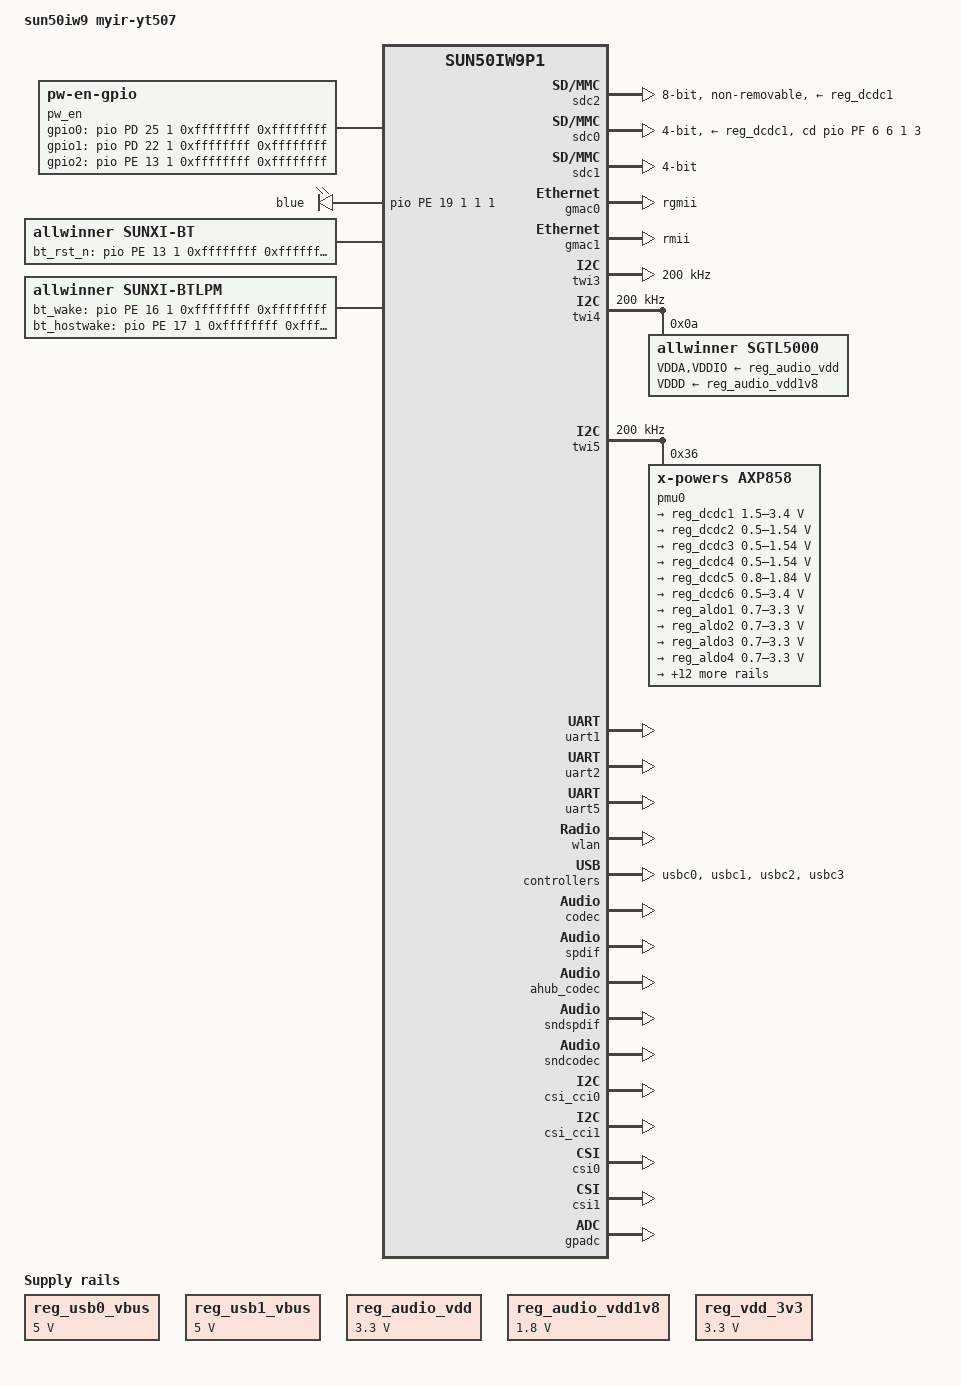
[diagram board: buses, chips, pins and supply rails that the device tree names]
/*
 * 
 * CPU module MYC-YT507  support.
 */

/dts-v1/;
#include <dt-bindings/input/input.h>
#include <dt-bindings/gpio/gpio.h>
#include "sun50iw9p1-myir.dtsi"

/*display*/
//#include "display/myir-hdmi-1920x1080-1lvds-7-1024x600.dtsi"     
//#include "display/myir-lcd-1lvds-7-1024-600.dtsi"
//#include "display/myir-lcd-lvds-10.1-1280-800.dtsi" 
//#include "display/myir-lcd-2lvds-7-1024-600.dtsi"
//#include "display/myir-lcd-2lvds-21-1920-1080.dtsi"
//#include "display/myir-hdmi.dtsi"
//#include "display/myir-tv.dtsi"


/{
	model = "sun50iw9 myir-yt507";
	compatible = "allwinner,t507", "arm,sun50iw9p1";

	reg_usb0_vbus: usb0-vbus {
		compatible = "regulator-fixed";
		regulator-name = "usb-vbus";
		regulator-min-microvolt = <5000000>;
		regulator-max-microvolt = <5000000>;
		enable-active-high;
	};

	reg_usb1_vbus: usb1-vbus {
		compatible = "regulator-fixed";
		regulator-name = "usb-vbus";
		regulator-min-microvolt = <5000000>;
		regulator-max-microvolt = <5000000>;
		enable-active-high;
	};

	reg_audio_vdd: audio_vdd {
                compatible = "regulator-fixed";
                regulator-name = "audio-vdd";
                regulator-min-microvolt = <3300000>;
                regulator-max-microvolt = <3300000>;
                enable-active-high;
        };

	 reg_audio_vdd1v8: audio_vdd1v8 {
                compatible = "regulator-fixed";
                regulator-name = "audio-vdd1v8";
                regulator-min-microvolt = <1800000>;
                regulator-max-microvolt = <1800000>;
                enable-active-high;
        };

	 reg_vdd_3v3: vdd_3v3 {
                compatible = "regulator-fixed";
                regulator-name = "vdd-3v3";
                regulator-min-microvolt = <3300000>;
                regulator-max-microvolt = <3300000>;
                enable-active-high;
        };
	
       pw_en {
               compatible = "pw-en-gpio";
               gpio0 = <&pio PD 25 1 0xffffffff 0xffffffff 0>;// 4G 3.3Vi
	       gpio1 = <&pio PD 22 1 0xffffffff 0xffffffff 1>;// VDD3.3-IO
	       gpio2 = <&pio PE 13 1 0xffffffff 0xffffffff 1>;
	       //gpio3 = <&pio PE 16 1 0xffffffff 0xffffffff 1>;
/*
               gpio1 = <&pio PE 3 1 0xffffffff 0xffffffff 1>; //USB 5V
               gpio2 = <&pio PE 16 1 0xffffffff 0xffffffff 1>;// hub reset
               gpio3 = <&pio PE 10 1 0xffffffff 0xffffffff 1>;// fan
               gpio8 = <&pio PE 9 1 0xffffffff 0xffffffff 0>;// otg mode
               gpio9 = <&pio PE 2 1 0xffffffff 0xffffffff 0>;// otg pwr
	
  	       pinctrl-0 = <&pwr_pins>;
*/
               status = "okay";
       };       
       
	leds {
		compatible = "gpio-leds";
    		pinctrl-names = "default";
    		status = "okay";
		
		led: led-blue {
			label = "blue";
			gpios = <&pio PE 19 1 1 1 0>;
			linux,defaults-trigger = "heartbeat";
			defaults-state = "on";
		};

	};
/*
	gpiokey {
		device_type = "gpiokey";
		compatible = "gpio-keys";
		status = "okay";

		ok_key {
			device_type = "ok_key";
			label = "ok_key";
			linux,code = <0x1c>;
			gpios = <&axp_gpio0 1 1>;
			wakeup-source = <0x1>;
			linux,input-type = <1>;
			debounce-interval = <15>; //消抖时间
			};
	};
*/	
	soc@03000000 {
		pio: pinctrl@0300b000 {

			/* takes the debounce time in usec as argument */
			input-debounce = <0 0 0 0 0 0 1>;
			};

		spi0: spi@05010000 {
			pinctrl-0 = <&spi0_pins_a &spi0_pins_b>;
			pinctrl-1 = <&spi0_pins_c>;
			spi_slave_mode = <0>;
			status = "disabled";
			spi_board0 {
				device_type = "spi_board0";
				compatible = "spidev";
				spi-max-frequency = <0x5f5e100>;
				reg = <0x0>;
			};
		};

		spi1: spi@05011000 {
			pinctrl-0 = <&spi1_pins_a &spi1_pins_b>;
			pinctrl-1 = <&spi1_pins_c>;
			spi_slave_mode = <0>;
			status = "disabled";
			spi_board1 {
				device_type = "spi_board1";
				compatible = "spidev";
				spi-max-frequency = <0x5f5e100>;
				reg = <0x0>;
				spi-rx-bus-width = <0x1>;
				spi-tx-bus-width = <0x1>;
			};
		};
		/*emmc*/
		sdc2: sdmmc@04022000 {
			//pinctrl-0 = <&sdc2_pins_a &sdc2_pins_c>;
			non-removable;
			bus-width = <8>;
			mmc-ddr-1_8v;
		//	mmc-hs200-1_8v;
		//	mmc-hs400-1_8v;
			no-sdio;
			no-sd;
			cap-mmc-highspeed;
			sunxi-power-save-mode;
		//	sunxi-dis-signal-vol-sw;
			max-frequency = <50000000>;
			ctl-spec-caps = <0x8>;
			vqmmc-supply = <&reg_aldo1>;
			vmmc-supply = <&reg_dcdc1>;
			status = "okay";
		};

		/*sdcard*/
		sdc0: sdmmc@04020000 {
			pinctrl-0 = <&sdc0_pins_a>;
			bus-width = <4>;
			cd-gpios = <&pio PF 6 6 1 3 0xffffffff>;
			cd-used-24M;
			/*non-removable;*/
			/*broken-cd;*/
			/*cd-inverted*/
			/*data3-detect;*/
			cap-sd-highspeed;
			sd-uhs-sdr50;
			sd-uhs-ddr50;
			sd-uhs-sdr104;
			no-sdio;
			no-mmc;
			sunxi-power-save-mode;
			sunxi-signal-vol-sw-without-pmu;
			/*sunxi-dis-signal-vol-sw;*/
			max-frequency = <150000000>;
			ctl-spec-caps = <0x8>;
			vmmc-supply = <&reg_dcdc1>;
			vqmmc33sw-supply = <&reg_dcdc1>;
			vdmmc33sw-supply = <&reg_dcdc1>;
			vqmmc18sw-supply = <&reg_aldo2>;
			vdmmc18sw-supply = <&reg_aldo2>;
			status = "okay";
		};

		/*wifi*/
		sdc1: sdmmc@04021000 {
			pinctrl-0 = <&sdc1_pins_a>;
			bus-width = <4>;
			no-mmc;
			no-sd;
			cap-sd-highspeed;
			/*sd-uhs-sdr12*/
			/*sd-uhs-sdr25*/
			/*sd-uhs-sdr50;*/
			/*sd-uhs-ddr50;*/
			/*sd-uhs-sdr104*/
			/*sunxi-power-save-mode;*/
			sunxi-dis-signal-vol-sw;
			cap-sdio-irq;
			keep-power-in-suspend;
			ignore-pm-notify;
			max-frequency = <50000000>;
			ctl-spec-caps = <0x8>;
			status = "okay";					
		};
		
		/*Gethernet */
		gmac0: eth@05020000{
			phy-mode = "rgmii";
			phy-rst = <&pio PI 6 1 1 1 0>;
			//phy-power = <&pio PD 22 1 1 1 0>;
			use_ephy25m = <1>;
			tx-delay = <3>;//2 5
			rx-delay = <16>;//24 16
			gmac-power0-supply = <&reg_dcdc6>;
			gmac-power1-supply;
			gmac-power2-supply;
			gmac-power0-vol = <3300000>;
			gmac-power1-vol;
			gmac-power2-vol;
			status = "okay";
		};

		/*megabit ethernet*/
		gmac1: eth@05030000{
			phy-mode = "rmii";
			phy-rst = <&pio PH 5 1 1 1 0>;
			use_ephy25m = <0>;
			tx-delay = <7>;
			rx-delay = <0>;
			gmac-power0-supply = <&reg_dcdc6>;
			gmac-power1-supply;
			gmac-power2-supply;
			gmac-power0-vol = <3300000>;
			gmac-power1-vol;
			gmac-power2-vol;
			status = "okay";
		};
		
		/*twi0*/
		twi0: twi@0x05002000{
			clock-frequency = <400000>;
			pinctrl-0 = <&twi0_pins_a>;
			pinctrl-1 = <&twi0_pins_b>;
			twi-supply = <&reg_dcdc1>;
			status = "disabled";
		};
		
		/*twi1*/
		twi1: twi@0x05002400{
			clock-frequency = <200000>;
			pinctrl-0 = <&twi1_pins_a>;
			pinctrl-1 = <&twi1_pins_b>;
			//twi-supply = <&reg_cldo3>;
			status = "disabled";

		};
		
		/*twi2*/
		/*
		twi2: twi@0x05002800{
			clock-frequency = <200000>;
			pinctrl-0 = <&twi2_pins_a>;
			pinctrl-1 = <&twi2_pins_b>;
			//twi-supply = <&reg_dcdc1>;
			status = "disabled";
			
		};
		*/

		/*twi3*/
		twi3: twi@0x05002c00{
			clock-frequency = <200000>;
			pinctrl-0 = <&twi3_pins_a>;
			pinctrl-1 = <&twi3_pins_b>;
			//twi-supply = <&reg_dcdc1>;
			status = "okay";
		};

		/*twi4*/
		twi4: twi@0x05003000{
			clock-frequency = <200000>;
			pinctrl-0 = <&twi4_pins_a>;
			pinctrl-1 = <&twi4_pins_b>;
			//twi-supply = <&reg_cldo2>;
			status = "okay";
			
			sgtl5000@0a {
                                compatible = "allwinner,sgtl5000";
                                device_type = "sgtl5000";
				reg = <0x0a>;
			
				VDDA-supply = <&reg_audio_vdd>;
				VDDIO-supply = <&reg_audio_vdd>;
				VDDD-supply = <&reg_audio_vdd1v8>;
                                micbias-resistor-k-ohms = <4>;
                                micbias-voltage-m-volts = <2250>;
				status = "okay";
                        };
		};

		/*twi5*/
		twi5: twi@0x07081400{
			clock-frequency = <200000>;
			pinctrl-0 = <&s_twi0_pins_a>;
			pinctrl-1 = <&s_twi0_pins_b>;
			status = "okay";
		};
		
		/*PWM*/
		pwm0: pwm0@0300a000 {
			pinctrl-names = "active", "sleep";
			pinctrl-0 = <&pwm0_pin_a>;
			pinctrl-1 = <&pwm0_pin_b>;
		};

		pwm5: pwm5@0300a000 {
               		pinctrl-names = "active", "sleep";
                        pinctrl-0 = <&pwm5_pin_a>;
                        pinctrl-1 = <&pwm5_pin_b>;

		 };
                
		/*GPADC*/
		/*
		gpadc:gpadc{
                        channel_num = <4>;
                        channel_select = <0x01>;
                        channel_data_select = <0>;
                        channel_compare_select = <0x01>;
                        channel_cld_select = <0x01>;
                        channel_chd_select = <0>;
                        channel0_compare_lowdata = <4700000>;
                        channel0_compare_higdata = <1000000>;
                        status = "okay";
                };
		*/

		/*BT*/
		uart1: uart@05000400 {
			status = "okay";
		};
		
		/*RS232*/
		uart2: uart@05000800 {
			//uart-supply = <&reg_cldo3>;
			uart2_type = <2>;
			status = "okay";
		};

		/*NO USE*/
		uart3: uart@05000c00 {
			uart3_type = <2>;
			status = "disabled";
		};
		
		/*NO USE*/
		uart4: uart@05001000 {
			//uart-supply = <&reg_cldo3>;
			uart4_type = <2>;
			status = "disabled";
		};

		/*RS485*/
		uart5: uart@05001400 {
			//uart-supply = <&reg_cldo3>;
			uart5_type = <2>;
			status = "okay";
		};

		wlan:wlan {
			compatible    = "allwinner,sunxi-wlan";
			//clocks        = <&clk_losc_out>;
			//pinctrl-0     = <&clk_losc_pins_a>;
			//pinctrl-names = "default";
			wlan_busnum   = <0x1>;
			wlan_power    = "axp858-dcdc1";
			wlan_io_regulator = "axp858-cldo2";
			wlan_regon    = <&pio PE 12 1 0xffffffff 0xffffffff 1>;
			wlan_hostwake = <&pio PE 14 1 0xffffffff 0xffffffff 1>;
			chip_en;
			power_en;
			status        = "okay";
		};

		bt:bt {
			compatible    = "allwinner,sunxi-bt";
			clocks        = <&clk_losc_out>;
			bt_power      = "axp858-dcdc1";
			bt_io_regulator = "axp858-cldo2";
			bt_rst_n = <&pio PE 13 1 0xffffffff 0xffffffff 0>;
			//bt_rst_n;
			status        = "okay";
		};

		btlpm:btlpm {
			compatible  = "allwinner,sunxi-btlpm";
			uart_index  = <0x1>;
			bt_wake	    = <&pio PE 16 1 0xffffffff 0xffffffff 1>;
			bt_hostwake = <&pio PE 17 1 0xffffffff 0xffffffff 1>;
			status      = "okay";
		};

		car_reverse:car_reverse {
			compatible  = "allwinner,sunxi-car-reverse";
			tvd_id  = <0x5>;
			screen_width = <1280>;
			screen_height = <800>;
			rotation = <0x0>;
			source = <0x1>;
			oview = <0x0>;
			reverse_pin = <&pio PI 15 6 0 1 0>;
			status      = "disabled";
		};

		addr_mgt:addr_mgt {
			compatible     = "allwinner,sunxi-addr_mgt";
			type_addr_wifi = <0x0>;
			type_addr_bt   = <0x0>;
			type_addr_eth  = <0x0>;
			status         = "okay";
		};

		usbc0:usbc0@0 {
			device_type		= "usbc0";
			usb_port_type		= <0x2>;
			usb_detect_type		= <0x1>;
			usb_detect_mode		= <0x0>;
			//usb_id_gpio		= <&pio PE 0 0 1 0 0>;
			usb_det_vbus_gpio	= <&pio PE 18 0 1 0 0>;
			usb_regulator_io	= "nocare";
			usb_wakeup_suspend	= <0x0>;
			usb_luns		= <0x3>;
			usb_serial_unique	= <0x0>;
			usb_serial_number	= "20080411";
			status			= "okay";
		};

		ehci0:ehci0-controller@0x05101000 {
			drvvbus-supply = <&reg_usb0_vbus>;
		};

		ohci0:ohci0-controller@0x05101400 {
			drvvbus-supply = <&reg_usb0_vbus>;
		};

		usbc1:usbc1@0 {
			device_type		= "usbc1";
			usb_regulator_io	= "nocare";
			usb_wakeup_suspend	= <0x0>;
			status			= "okay";
		};

		ehci1:ehci1-controller@0x05200000 {
			drvvbus-supply = <&reg_usb1_vbus>;
		};

		ohci1:ohci1-controller@0x05200400 {
			drvvbus-supply = <&reg_usb1_vbus>;
		};

		usbc2:usbc2@0 {
			device_type		= "usbc2";
			usb_drv_vbus_gpio;
			usb_regulator_io	= "nocare";
			usb_wakeup_suspend	= <0x0>;
			status			= "okay";
		};

		usbc3:usbc3@0 {
			device_type		= "usbc3";
			usb_drv_vbus_gpio;
			usb_regulator_io	= "nocare";
			usb_wakeup_suspend	= <0x0>;
			status			= "okay";
		};

		/* audio dirver module */
		codec:codec@0x05096000 {
			adcdrc_cfg  = <0x00>;
			adchpf_cfg  = <0x00>;
			dacdrc_cfg  = <0x00>;
			dachpf_cfg  = <0x00>;
			fmin_gain   = <0x03>;
			linein_gain = <0x03>;
			digital_vol = <0x00>;
			lineout_vol = <0x1f>;//默认输出音量
			/* gpio-spk */
//			gpio-spk = <&pio PH 9 1 0xffffffff 0xffffffff 0>;
//			gpio-spk = <&pio PE 13 1 0xffffffff 0xffffffff 0>;
			pa_ctl_level   = <0x01>;
			pa_msleep_time = <0x78>;
			ramp_func_used = <0x01>;
			//avcc-supply = <&reg_aldo2>;
			status = "okay";
		};

		spdif:spdif-controller@0x05093000{
			status = "okay";
		};

		dmic:dmic-controller@0x05095000{
			status = "disabled";
		};

		ahub_codec:ahub_codec@0x05097000{
			status = "okay";
		};

		ahub_daudio0:ahub_daudio0@0x05097000{
			pinconfig 		= <0x01>;
			frametype 		= <0x00>;
			pcm_lrck_period		= <0x20>;
			slot_width_select	= <0x20>;
			daudio_master		= <0x04>;
			audio_format  		= <0x01>;
			signal_inversion 	= <0x01>;
			tdm_config		= <0x01>;
			mclk_div 		= <0x08>;
			status = "disabled";
		};

		ahub_daudio1:ahub_daudio1@0x05097000{
			pinconfig 		= <0x00>;
			frametype 		= <0x00>;
			pcm_lrck_period 	= <0x20>;
			slot_width_select 	= <0x20>;
			daudio_master 		= <0x04>;
			audio_format 		= <0x01>;
			signal_inversion 	= <0x01>;
			tdm_config 		= <0x01>;
			mclk_div 		= <0x01>;
			status = "disabled";
		};

		ahub_daudio2:ahub_daudio2@0x05097000{
			pinconfig 		= <0x01>;//0x01
			frametype 		= <0x00>;
			pcm_lrck_period 	= <0x10>;
			slot_width_select 	= <0x10>;
			daudio_master 		= <0x01>;
			audio_format 		= <0x01>;//01: standard i2s format
			signal_inversion 	= <0x01>;
			tdm_config 		= <0x01>;//00:pcm  01:i2s
			mclk_div 		= <0x04>;//0x04?分频为什么要这样分.默认24MHZ
			status = "okay";
		};

		ahub_daudio3:ahub_daudio3@0x05097000{
			pinconfig 		= <0x01>;
			frametype 		= <0x00>;
			pcm_lrck_period 	= <0x20>;
			slot_width_select 	= <0x20>;
			daudio_master 		= <0x04>;
			audio_format 		= <0x01>;
			signal_inversion 	= <0x01>;
			tdm_config 		= <0x01>;
			mclk_div 		= <0x08>;
			status = "disabled";
		};

		snddaudio3:sound@3{
			/* ac107-codec throught daudio0*/
			sunxi,snddaudio-codec = "ac107.3-0036";
			sunxi,snddaudio-codec-dai = "ac107-pcm0";
			status = "disabled";
		};

		/*
		sndhdmi:sound@1{
			status = "okay";
		};*/

		snddaudio2:sound@2{
			sunxi,snddaudio-codec = "sgtl5000.4-000a";
                        sunxi,snddaudio-codec-dai = "sgtl5000";
			status = "okay";
		};

		snddaudio0:sound@0{
			/* acx00-codec throught mfd_add_devices */
			/*
			sunxi,snddaudio-codec = "acx00-codec";
			sunxi,snddaudio-codec-dai = "acx00-dai";
			*/
			status = "disabled";
		};

		sndspdif:sound@4{
			status = "okay";
		};

		snddmic:sound@5{
			status = "disabled";
		};

		sndcodec:sound@6{
			status = "okay";
		};

		sndahub:sound@7{
			status = "okay";
		};
/*--------------------------------------------------------------------------------
vin (video input modules) configuration
vind(x)_used: 0:disable 1:enable, main node for vin
csi(x)_used: 0:disable 1:enable
flash(x)_used: 0:disable 1:enable
flash(x)_type: 0:FLASH_RELATING, 1:FLASH_EN_INDEPEND, 2:FLASH_POWER
flash(x)_en: flash enable gpio, type = 0 of 1
flash(x)_mode: flash mode gpio, type = 0 of 1
flash(x)_flvdd: flash module io power handle string, pmu power supply, type = 2
flash(x)_flvdd_vol: flash module io power voltage, pmu power supply, type = 2
actuator(x)_used: 0:disable 1:enable
actuator(x)_name: vcm name
actuator(x)_slave: vcm iic slave address
actuator(x)_af_pwdn: vcm power down gpio
actuator(x)_afvdd: vcm power handle string, pmu power supply
actuator(x)_afvdd_vol: vcm power voltage, pmu power supply
sensor(x)_used: 0:disable 1:enable
sensor(x)_isp_used 0:not use isp 1:use isp
sensor(x)_fmt: 0:yuv 1:bayer raw rgb
sensor(x)_stby_mode: 0:not shut down power at standby 1:shut down power at standby
sensor(x)_vflip: flip in vertical direction 0:disable 1:enable
sensor(x)_hflip: flip in horizontal direction 0:disable 1:enable
sensor(x)_cameravdd-supply: camera module power handle string, pmu power supply
sensor(x)_cameravdd_vol: camera module power voltage, pmu power supply
sensor(x)_iovdd-supply: camera module io power handle string, pmu power supply
sensor(x)_iovdd_vol: camera module io power voltage, pmu power supply
sensor(x)_avdd-supply: camera module analog power handle string, pmu power supply
sensor(x)_avdd_vol: camera module analog power voltage, pmu power supply
sensor(x)_dvdd-supply: camera module core power handle string, pmu power supply
sensor(x)_dvdd_vol: camera module core power voltage, pmu power supply
sensor(x)_power_en: camera module power enable gpio
sensor(x)_reset: camera module reset gpio
sensor(x)_pwdn: camera module pwdn gpio
fill voltage in uV, e.g. iovdd = 2.8V, sensorx_iovdd_vol = 2800000
fill handle string as below:
<&reg_bldo3>
<&reg_bldo4>
<&reg_bldo5>
fill handle string "" when not using any pmu power supply
vinc(x)_used: 0:disable 1:enable
vinc(x)_sensor_list: use sensor list
--------------------------------------------------------------------------------*/
		vind0:vind@0 {
			vind0_clk = <324000000>;
			status = "okay";

			csi_cci0:cci@0 {
				status = "okay";
			};
			csi_cci1:cci@1 {
				status = "okay";
			};
			
			csi0:csi@0 {
				status = "okay";
			};
			csi1:csi@1 {
				vinc1_rear_sensor_sel = <0>;
				vinc1_front_sensor_sel = <0>;
				vinc1_sensor_list = <0>;
				status = "okay";
			};
			
			actuator0:actuator@0 {
				device_type = "actuator0";
				actuator0_name = "ad5820_act";
				actuator0_slave = <0x18>;
				actuator0_af_pwdn = <>;
				actuator0_afvdd = "afvcc-csi";
				actuator0_afvdd_vol = <2800000>;
				status = "disabled";
			};
			flash0:flash@0 {
				device_type = "flash0";
				flash0_type = <2>;
				flash0_en = <>;
				flash0_mode = <>;
				flash0_flvdd = "";
				flash0_flvdd_vol = <>;
				device_id = <0>;
				status = "disabled";
			};
			sensor0:sensor@0 {
				device_type = "sensor0";
				sensor0_mname = "ov5640_mipi";
				sensor0_twi_cci_id = <0>;
				sensor0_twi_addr = <0x78>;
				sensor0_mclk_id = <1>;
				sensor0_pos = "rear";
				sensor0_isp_used = <0>;
				sensor0_fmt = <0>;
				sensor0_stby_mode = <0>;
				sensor0_vflip = <0>;
				sensor0_hflip = <0>;
				sensor0_iovdd-supply = <&reg_bldo1>;
				sensor0_iovdd_vol = <1800000>;
				/*
				sensor0_avdd-supply = <&reg_cldo1>;
				sensor0_avdd_vol = <3300000>;
				sensor0_dvdd-supply = <&reg_bldo5>;
				sensor0_dvdd_vol = <1200000>;
				*/
				sensor0_power_en = <&pio PC 7 1 0 1 1>;
				sensor0_reset = <&pio PC 12 1 0 1 0>;
				sensor0_pwdn = <&pio PC 2 1 0 1 1>;
				sensor0_sm_vs = <>;
				device_id = <0>;
				status	= "okay";
			};

/*
			sensor1:sensor@1 {
				device_type = "sensor1";
				sensor1_mname = "ov2659";
				sensor1_twi_cci_id = <1>;
				sensor1_twi_addr = <0x60>;
				sensor1_mclk_id = <1>;
				sensor1_pos = "front";
				sensor1_isp_used = <0>;
				sensor1_fmt = <0>;
				sensor1_stby_mode = <0>;
				sensor1_vflip = <0>;
				sensor1_hflip = <0>;
				//sensor1_cameravdd-supply = <&reg_aldo5>;
				//sensor1_cameravdd_vol = <3300000>;
				sensor1_iovdd-supply = <&reg_aldo5>;
				sensor1_iovdd_vol = <3300000>;
				sensor1_power_en = <>;
				sensor1_reset = <&pio PE 16 1 0 1 0>;
				sensor1_pwdn = <&pio PE 17 1 0 1 0>;
				sensor1_sm_vs = <>;
				status	= "okay";
			};
*/
			sensor1:sensor@1 {
				device_type = "sensor1";
				//sensor1_mname = "ov2659";
				sensor1_mname = "ov5640_dvp";
				sensor1_twi_cci_id = <1>;
				//sensor1_twi_addr = <0x60>;
				sensor1_twi_addr = <0x78>;
				sensor1_mclk_id = <1>;
				sensor1_pos = "front";
				sensor1_isp_used = <0>;
				sensor1_fmt = <0>;
				sensor1_stby_mode = <0>;
				sensor1_vflip = <0>;
				sensor1_hflip = <0>;
				//sensor1_cameravdd-supply = <&reg_aldo5>;
				//sensor1_cameravdd_vol = <3300000>;
				sensor1_iovdd-supply = <&reg_aldo5>;
				sensor1_iovdd_vol = <2800000>;
				/*
				sensor1_avdd-supply = <&reg_bldo4>;
				sensor1_avdd_vol = <1200000>;
				sensor1_dvdd-supply = <&reg_bldo5>;
				sensor1_dvdd_vol = <1200000>;
				*/
				//sensor1_power_en = <&pio PD 22 1 1 1 0>;//3V3_io
				sensor1_reset = <>;
				sensor1_pwdn = <>;
				sensor1_sm_vs = <>;
				status	= "okay";
			};			

			vinc0:vinc@0 {
				vinc0_csi_sel = <0>;
				vinc0_mipi_sel = <0>;
				vinc0_isp_sel = <0>;
				vinc0_isp_tx_ch = <0>;
				vinc0_rear_sensor_sel = <0>;
				vinc0_front_sensor_sel = <0>;
				vinc0_sensor_list = <0>;
				status = "okay";
			};
			vinc1:vinc@1 {
				vinc1_csi_sel = <0>;
				vinc1_mipi_sel = <0>;
				vinc1_isp_sel = <0>;
				vinc1_isp_tx_ch = <1>;
				vinc1_rear_sensor_sel = <0>;
				vinc1_front_sensor_sel = <0>;
				vinc1_sensor_list = <0>;
				status = "disabled";
			};
			vinc2:vinc@2 {
				vinc2_csi_sel = <1>;
				vinc2_mipi_sel = <0xff>;
				vinc2_isp_sel = <1>;
				vinc2_isp_tx_ch = <0>;
				vinc2_rear_sensor_sel = <1>;
				vinc2_front_sensor_sel = <1>;
				vinc2_sensor_list = <0>;
				status = "okay";
			};
			vinc3:vinc@3 {
				vinc3_csi_sel = <1>;
				vinc3_mipi_sel = <0xff>;
				vinc3_isp_sel = <1>;
				vinc3_isp_tx_ch = <1>;
				vinc3_rear_sensor_sel = <1>;
				vinc3_front_sensor_sel = <1>;
				vinc3_sensor_list = <0>;
				status = "disabled";
			};
			vinc4:vinc@4 {
				vinc4_csi_sel = <1>;
				vinc4_mipi_sel = <0xff>;
				vinc4_isp_sel = <1>;
				vinc4_isp_tx_ch = <2>;
				vinc4_rear_sensor_sel = <1>;
				vinc4_front_sensor_sel = <1>;
				vinc4_sensor_list = <0>;
				status = "disabled";
			};
			vinc5:vinc@5 {
				vinc5_csi_sel = <1>;
				vinc5_mipi_sel = <0xff>;
				vinc5_isp_sel = <1>;
				vinc5_isp_tx_ch = <3>;
				vinc5_rear_sensor_sel = <1>;
				vinc5_front_sensor_sel = <1>;
				vinc5_sensor_list = <0>;
				status = "disabled";
			};
		};


/*----------------------------------------------------------------------------------
;tv configuration
;dac_src            (dac no,support dac_src0~dac_src3,dac num max is 4)
;interface          (interface type,1<->cvbs,2<->YPBPR,4<->SVIDEO)
;dac_type           (0<->composite,1<->luma,2<->chroma,3<->reserved,4<->y/green,
;                    5<->u/pb/blue,6<->v/pr/red)
;NOTE:              tv0,tv1 can not use the same dac_src.
;---------------------------------------------------------------------------------*/
	tv0: tv0@01c94000 {
		status =  "okay";
		dac_src0        = <0>;
		dac_type0       = <0>;

		interface       = <1>;
		tv_power = "reg_cldo4";
		};
	};
	gpu: gpu@0x01800000 {
		gpu_idle = <0>;
		dvfs_status = <1>;
		independent_power = <1>;
		operating-points = <
                        /* KHz   uV */
			648000 960000
			600000 900000
			552000 880000
			504000 860000
			456000 840000
			420000 820000
			384000 820000
			360000 810000
			336000 810000
			306000 810000
		>;
		gpu-supply = <&reg_dcdc4>;
		};
	};

&aliases {
	pmu0 = &pmu0;
	standby_param = &standby_param;
};

&cpu_trips{
	cpu_crit: cpu_crit@0 {
		temperature = <120000>;
		type = "critical";
		hysteresis = <0>;
	};
};

&twi5 {
	no_suspend = <1>;
	status = "okay";

	pmu0: pmu@36{
		compatible = "x-powers,axp858";
		reg = <0x36>;
		interrupt-parent = <&nmi_intc>;
		interrupts = <0 IRQ_TYPE_LEVEL_LOW>;
		interrupt-controller;
		#interrupt-cells = <1>;

		wakeup-source;
		pmu_reset = <1>;
		pmu_irq_wakeup = <1>;

		powerkey0: powerkey@0{
			status = "okay";
			compatible = "x-powers,axp2101-pek";
			pmu_powkey_off_time = <6000>;
			pmu_powkey_off_func = <0>;
			pmu_powkey_off_en = <1>;
			pmu_powkey_long_time = <1500>;
			pmu_powkey_on_time = <1000>;
			wakeup_rising;
			wakeup_falling;
		};

		standby_param: standby_param {
			vcc-io = <0x1>;
			vdd-cpua = <0x2>;
			vdd-sys = <0x4>;
			vdd-res1 = <0x40>;
			vcc-pll = <0x80>;
		};

		

		regulator0: regulators{
			reg_dcdc1: dcdc1 {
				regulator-name = "axp858-dcdc1";
				regulator-min-microvolt = <1500000>;
				regulator-max-microvolt = <3400000>;//34
				regulator-step-delay-us = <25>;
				regulator-final-delay-us = <50>;
				regulator-boot-on;
				regulator-always-on;
			};

			reg_dcdc2: dcdc2 {
				regulator-name = "axp858-dcdc2";
				regulator-min-microvolt = <500000>;
				regulator-max-microvolt = <1540000>;
				regulator-step-delay-us = <25>;
				regulator-final-delay-us = <50>;
				regulator-ramp-delay = <6001>; /* FIXME */
				regulator-always-on;
			};

			reg_dcdc3: dcdc3 {
				regulator-name = "axp858-dcdc3";
				regulator-min-microvolt = <500000>;
				regulator-max-microvolt = <1540000>;
				regulator-step-delay-us = <25>;
				regulator-final-delay-us = <50>;
				regulator-always-on;
			};

			reg_dcdc4: dcdc4 {
				regulator-name = "axp858-dcdc4";
				regulator-min-microvolt = <500000>;
				regulator-max-microvolt = <1540000>;
				regulator-step-delay-us = <25>;
				regulator-final-delay-us = <50>;
				regulator-enable-ramp-delay = <1000>;
			};

			reg_dcdc5: dcdc5 {
				regulator-name = "axp858-dcdc5";
				regulator-min-microvolt = <800000>;
				regulator-max-microvolt = <1840000>;
				regulator-step-delay-us = <25>;
				regulator-final-delay-us = <50>;
				regulator-always-on;
			};

			reg_dcdc6: dcdc6 {
				regulator-name = "axp858-dcdc6";
				regulator-min-microvolt = <500000>;
				regulator-max-microvolt = <3400000>;
				regulator-step-delay-us = <25>;
				regulator-final-delay-us = <50>;
			};

			reg_aldo1: aldo1 {
				regulator-name = "axp858-aldo1";
				regulator-min-microvolt = <700000>;
				regulator-max-microvolt = <3300000>;
				regulator-step-delay-us = <25>;
				regulator-final-delay-us = <50>;
				regulator-always-on;
			};

			reg_aldo2: aldo2 {
				regulator-name = "axp858-aldo2";
				regulator-min-microvolt = <700000>;
				regulator-max-microvolt = <3300000>;
				regulator-step-delay-us = <25>;
				regulator-final-delay-us = <50>;
				regulator-always-on;
			};

			reg_aldo3: aldo3 {
				regulator-name = "axp858-aldo3";
				regulator-min-microvolt = <700000>;
				regulator-max-microvolt = <3300000>;
				regulator-step-delay-us = <25>;
				regulator-final-delay-us = <50>;
			};

			reg_aldo4: aldo4 {
				regulator-name = "axp858-aldo4";
				regulator-min-microvolt = <700000>;
				regulator-max-microvolt = <3300000>;
				regulator-step-delay-us = <25>;
				regulator-final-delay-us = <50>;
				regulator-always-on;
			};

			reg_aldo5: aldo5 {
				regulator-name = "axp858-aldo5";
				regulator-min-microvolt = <700000>;
				regulator-max-microvolt = <3300000>;
				regulator-step-delay-us = <25>;
				regulator-final-delay-us = <50>;
				regulator-always-on;
			};

			reg_bldo1: bldo1 {
				regulator-name = "axp858-bldo1";
				regulator-min-microvolt = <700000>;
				regulator-max-microvolt = <1800000>;
				regulator-step-delay-us = <25>;
				regulator-final-delay-us = <50>;
				regulator-always-on;
			};

			reg_bldo2: bldo2 {
				regulator-name = "axp858-bldo2";
				regulator-min-microvolt = <700000>;
				regulator-max-microvolt = <3300000>;
				regulator-step-delay-us = <25>;
				regulator-final-delay-us = <50>;
			};

			reg_bldo3: bldo3 {
				regulator-name = "axp858-bldo3";
				regulator-min-microvolt = <700000>;
				regulator-max-microvolt = <3300000>;
				regulator-step-delay-us = <25>;
				regulator-final-delay-us = <50>;
			};

			reg_bldo4: bldo4 {
				regulator-name = "axp858-bldo4";
				regulator-min-microvolt = <700000>;
				regulator-max-microvolt = <3300000>;
				regulator-step-delay-us = <25>;
				regulator-final-delay-us = <50>;
				regulator-always-on;
			};

			reg_bldo5: bldo5 {
				regulator-name = "axp858-bldo5";
				regulator-min-microvolt = <700000>;
				regulator-max-microvolt = <3300000>;
				regulator-step-delay-us = <25>;
				regulator-final-delay-us = <50>;
			};

			reg_cldo1: cldo1 {
				regulator-name = "axp858-cldo1";
				regulator-min-microvolt = <700000>;
				regulator-max-microvolt = <3300000>;
				regulator-step-delay-us = <25>;
				regulator-final-delay-us = <50>;
				regulator-always-on;
			};

			reg_cldo2: cldo2 {
				regulator-name = "axp858-cldo2";
				regulator-min-microvolt = <700000>;
				regulator-max-microvolt = <3300000>;
				regulator-step-delay-us = <25>;
				regulator-final-delay-us = <50>;
				regulator-always-on;
			};

			reg_cldo3: cldo3 {
				regulator-name = "axp858-cldo3";
				regulator-min-microvolt = <700000>;//700000
				regulator-max-microvolt = <3300000>;
				regulator-step-delay-us = <25>;
				regulator-final-delay-us = <50>;
			};

			reg_cldo4: cldo4 {
				regulator-name = "axp858-cldo4";
				regulator-min-microvolt = <700000>;
				regulator-max-microvolt = <4200000>;
				regulator-step-delay-us = <25>;
				regulator-final-delay-us = <50>;
				regulator-always-on;
			};

			reg_cpusldo: cpusldo {
				regulator-name = "axp858-cpusldo";
				regulator-min-microvolt = <700000>;
				regulator-max-microvolt = <1400000>;
				regulator-step-delay-us = <25>;
				regulator-final-delay-us = <50>;
			};

			reg_sw: sw {
				regulator-name = "axp858-sw";
			};
			
			axp_gpio0: axp_gpio@0{
				gpio-controller;
				#size-cells = <0>;
				#gpio-cells = <6>;
				status = "okay";
			};
		};

		virtual-dcdc1 {
			compatible = "xpower-vregulator,dcdc1";
			dcdc1-supply = <&reg_dcdc1>;
		};

		virtual-dcdc2 {
			compatible = "xpower-vregulator,dcdc2";
			dcdc2-supply = <&reg_dcdc2>;
		};

		virtual-dcdc3 {
			compatible = "xpower-vregulator,dcdc3";
			dcdc3-supply = <&reg_dcdc3>;
		};

		virtual-dcdc4 {
			compatible = "xpower-vregulator,dcdc4";
			dcdc4-supply = <&reg_dcdc4>;
		};

		virtual-dcdc5 {
			compatible = "xpower-vregulator,dcdc5";
			dcdc5-supply = <&reg_dcdc5>;
		};

		virtual-dcdc6 {
			compatible = "xpower-vregulator,dcdc6";
			dcdc6-supply = <&reg_dcdc6>;
		};

		virtual-aldo1 {
			compatible = "xpower-vregulator,aldo1";
			aldo1-supply = <&reg_aldo1>;
		};

		virtual-aldo2 {
			compatible = "xpower-vregulator,aldo2";
			aldo2-supply = <&reg_aldo2>;
		};

		virtual-aldo3 {
			compatible = "xpower-vregulator,aldo3";
			aldo3-supply = <&reg_aldo3>;
		};

		virtual-aldo4 {
			compatible = "xpower-vregulator,aldo4";
			aldo4-supply = <&reg_aldo4>;
		};

		virtual-aldo5 {
			compatible = "xpower-vregulator,aldo5";
			aldo5-supply = <&reg_aldo5>;
		};

		virtual-bldo1 {
			compatible = "xpower-vregulator,bldo1";
			bldo1-supply = <&reg_bldo1>;
		};

		virtual-bldo2 {
			compatible = "xpower-vregulator,bldo2";
			bldo2-supply = <&reg_bldo2>;
		};

		virtual-bldo3 {
			compatible = "xpower-vregulator,bldo3";
			bldo3-supply = <&reg_bldo3>;
		};

		virtual-bldo4 {
			compatible = "xpower-vregulator,bldo4";
			bldo4-supply = <&reg_bldo4>;
		};

		virtual-bldo5 {
			compatible = "xpower-vregulator,bldo5";
			bldo5-supply = <&reg_bldo5>;
		};

		virtual-cldo1 {
			compatible = "xpower-vregulator,cldo1";
			cldo1-supply = <&reg_cldo1>;
		};

		virtual-cldo2 {
			compatible = "xpower-vregulator,cldo2";
			cldo2-supply = <&reg_cldo2>;
		};

		virtual-cldo3 {
			compatible = "xpower-vregulator,cldo3";
			cldo3-supply = <&reg_cldo3>;
		};

		virtual-cldo4 {
			compatible = "xpower-vregulator,cldo4";
			cldo4-supply = <&reg_cldo4>;
		};

	};
};

/*why*/
&cpu0 {
	cpu-supply = <&reg_dcdc2>;
};

&gpadc {
        channel_num = <4>;
        channel_select = <0xf>;
        channel_data_select = <0xf>;
        status = "okay";
};
